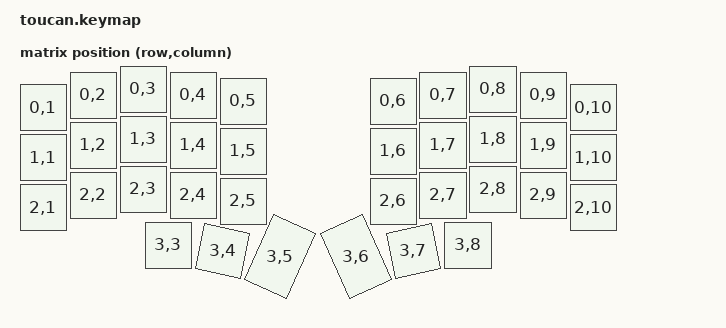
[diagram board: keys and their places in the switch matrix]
#define CONFIG_WIRELESS
#include "zmk-helpers/key-labels/36.h"
#include "base.keymap"

#include <dt-bindings/zmk/matrix_transform.h>
#include <physical_layouts.dtsi>

/ {
    fivecol_layout: fivecol_layout {
        compatible = "zmk,physical-layout";
        display-name = "5 Column";
        transform = <&fivecol_transform>;

        keys
            = <&key_physical_attrs 100 100    0   37       0     0     0>
            , <&key_physical_attrs 100 100  100   12       0     0     0>
            , <&key_physical_attrs 100 100  200    0       0     0     0>
            , <&key_physical_attrs 100 100  300   12       0     0     0>
            , <&key_physical_attrs 100 100  400   24       0     0     0>
            , <&key_physical_attrs 100 100  700   24       0     0     0>
            , <&key_physical_attrs 100 100  800   12       0     0     0>
            , <&key_physical_attrs 100 100  900    0       0     0     0>
            , <&key_physical_attrs 100 100 1000   12       0     0     0>
            , <&key_physical_attrs 100 100 1100   37       0     0     0>
            , <&key_physical_attrs 100 100    0  137       0     0     0>
            , <&key_physical_attrs 100 100  100  112       0     0     0>
            , <&key_physical_attrs 100 100  200  100       0     0     0>
            , <&key_physical_attrs 100 100  300  112       0     0     0>
            , <&key_physical_attrs 100 100  400  124       0     0     0>
            , <&key_physical_attrs 100 100  700  124       0     0     0>
            , <&key_physical_attrs 100 100  800  112       0     0     0>
            , <&key_physical_attrs 100 100  900  100       0     0     0>
            , <&key_physical_attrs 100 100 1000  112       0     0     0>
            , <&key_physical_attrs 100 100 1100  137       0     0     0>
            , <&key_physical_attrs 100 100    0  237       0     0     0>
            , <&key_physical_attrs 100 100  100  212       0     0     0>
            , <&key_physical_attrs 100 100  200  200       0     0     0>
            , <&key_physical_attrs 100 100  300  212       0     0     0>
            , <&key_physical_attrs 100 100  400  224       0     0     0>
            , <&key_physical_attrs 100 100  700  224       0     0     0>
            , <&key_physical_attrs 100 100  800  212       0     0     0>
            , <&key_physical_attrs 100 100  900  200       0     0     0>
            , <&key_physical_attrs 100 100 1000  212       0     0     0>
            , <&key_physical_attrs 100 100 1100  237       0     0     0>
            , <&key_physical_attrs 100 100  250  312       0     0     0>
            , <&key_physical_attrs 100 100  350  312    1200   350   412>
            , <&key_physical_attrs 100 150  448  283    2400   448   433>
            , <&key_physical_attrs 100 150  652  283  (-2400)  752   433>
            , <&key_physical_attrs 100 100  750  312  (-1200)  850   412>
            , <&key_physical_attrs 100 100  850  312       0     0     0>
        ;
    };

    fivecol_transform: keymap_transform_0 {
        compatible = "zmk,matrix-transform";
        columns = <10>;
        rows = <4>;
        map = <
        RC(0,1) RC(0,2) RC(0,3) RC(0,4) RC(0,5)  RC(0,6) RC(0,7) RC(0,8) RC(0,9) RC(0,10)
        RC(1,1) RC(1,2) RC(1,3) RC(1,4) RC(1,5)  RC(1,6) RC(1,7) RC(1,8) RC(1,9) RC(1,10)
        RC(2,1) RC(2,2) RC(2,3) RC(2,4) RC(2,5)  RC(2,6) RC(2,7) RC(2,8) RC(2,9) RC(2,10)
                                RC(3,3) RC(3,4) RC(3,5)  RC(3,6) RC(3,7) RC(3,8)
        >;
    };
};

/{ chosen { zmk,physical-layout = &fivecol_layout; }; };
